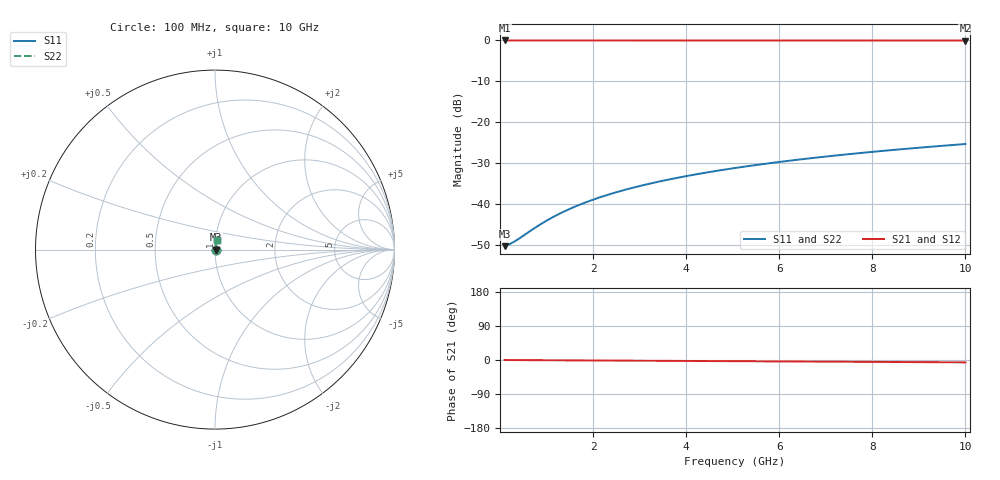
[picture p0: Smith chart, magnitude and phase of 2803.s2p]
# Hz S RI R 50.00
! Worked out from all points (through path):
!   100 points, 100 MHz to 10 GHz, reference 50 ohm
!   highest |S21| = -0.03 dB at 100 MHz (marker M1); lowest = 0.0 dB at 10 GHz (marker M2)
!   lowest |S11| = -50.4 dB at 100 MHz (marker M3), VSWR 1.01, Z = 50.3 + j0.0539 ohm
!   |S11| at or under -10 dB: start of sweep to end of sweep
!   |S22| runs from -50.4 to -25.4 dB; largest |S21 - S12| = 0
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1e8  0.00298 0.000536  0.997 -0.00108  0.997 -0.00108  0.00298 0.000536
2e8  0.003 0.00107  0.997 -0.00216  0.997 -0.00216  0.003 0.00107
3e8  0.00302 0.00161  0.997 -0.00324  0.997 -0.00324  0.00302 0.00161
4e8  0.00303 0.00214  0.997 -0.00432  0.997 -0.00432  0.00303 0.00214
8e8  0.0031 0.00429  0.9969 -0.00864  0.9969 -0.00864  0.0031 0.00429
1.1e9  0.00315 0.00589  0.9968 -0.0119  0.9968 -0.0119  0.00315 0.00589
1.4e9  0.00321 0.0075  0.9968 -0.0151  0.9968 -0.0151  0.00321 0.0075
1.6e9  0.00325 0.00857  0.9967 -0.0173  0.9967 -0.0173  0.00325 0.00857
1.8e9  0.0033 0.00964  0.9966 -0.0194  0.9966 -0.0194  0.0033 0.00964
2.1e9  0.00338 0.0112  0.9965 -0.0227  0.9965 -0.0227  0.00338 0.0112
2.5e9  0.0035 0.0134  0.9964 -0.027  0.9964 -0.027  0.0035 0.0134
2.9e9  0.00364 0.0155  0.9962 -0.0313  0.9962 -0.0313  0.00364 0.0155
3.4e9  0.00383 0.0182  0.996 -0.0367  0.996 -0.0367  0.00383 0.0182
3.8e9  0.00401 0.0203  0.9958 -0.041  0.9958 -0.041  0.00401 0.0203
4.2e9  0.00421 0.0225  0.9955 -0.0453  0.9955 -0.0453  0.00421 0.0225
4.6e9  0.00442 0.0246  0.9952 -0.0496  0.9952 -0.0496  0.00442 0.0246
5.1e9  0.00472 0.0273  0.9949 -0.055  0.9949 -0.055  0.00472 0.0273
5.9e9  0.00525 0.0315  0.9942 -0.0636  0.9942 -0.0636  0.00525 0.0315
6.7e9  0.00585 0.0357  0.9934 -0.0722  0.9934 -0.0722  0.00585 0.0357
7.5e9  0.00653 0.04  0.9926 -0.0808  0.9926 -0.0808  0.00653 0.04
8.4e9  0.00737 0.0447  0.9915 -0.0905  0.9915 -0.0905  0.00737 0.0447
1e10  0.00911 0.0531  0.9894 -0.1076  0.9894 -0.1076  0.00911 0.0531
